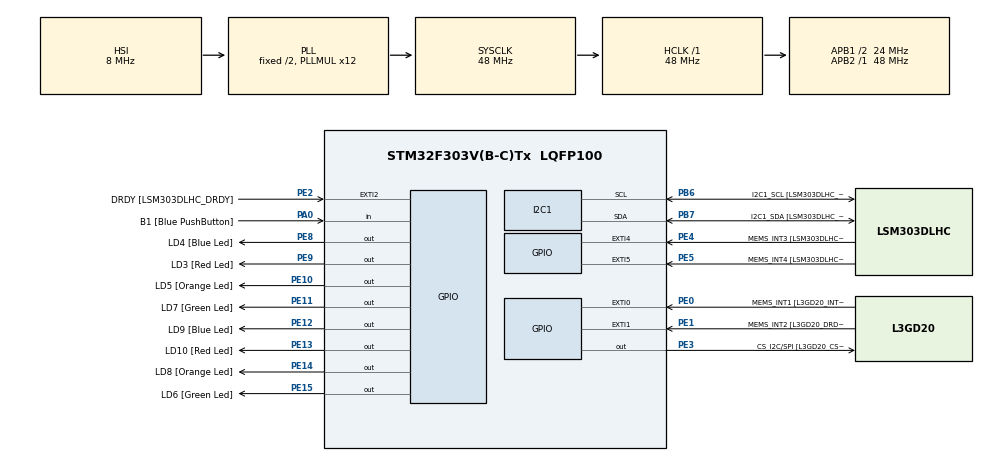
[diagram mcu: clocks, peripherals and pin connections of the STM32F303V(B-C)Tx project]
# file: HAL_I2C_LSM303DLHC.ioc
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Mcu.Family=STM32F3
Mcu.Name=STM32F303V(B-C)Tx
Mcu.Package=LQFP100
NVIC.I2C1_ER_IRQn=true\:0\:0\:false\:false\:true\:true\:true\:true
NVIC.I2C1_EV_IRQn=true\:0\:0\:false\:false\:true\:true\:true\:true
NVIC.PriorityGroup=NVIC_PRIORITYGROUP_0
PA0.GPIO_Label=B1 [Blue PushButton]
PA0.GPIO_Mode=GPIO_MODE_INPUT
PA0.GPIO_PuPd=GPIO_NOPULL
PA0.Signal=GPIO_Input
PA11.GPIO_Label=DM
PA11.Signal=USB_DM
PA12.GPIO_Label=DP
PA12.Signal=USB_DP
PA13.GPIO_Label=SWDIO
PA13.Signal=SYS_JTMS-SWDIO
PA14.GPIO_Label=SWCLK
PA14.Signal=SYS_JTCK-SWCLK
PA5.GPIO_Label=SPI1_SCK [L3GD20_SCL/SPC]
PA5.GPIO_Mode=GPIO_MODE_AF_PP
PA5.GPIO_PuPd=GPIO_NOPULL
PA5.GPIO_Speed=GPIO_SPEED_FREQ_LOW
PA5.Signal=SPI1_SCK
PA6.GPIO_Label=SPI1_MISO [L3GD20_SA0/SDO]
PA6.GPIO_Mode=GPIO_MODE_AF_PP
PA6.GPIO_PuPd=GPIO_NOPULL
PA6.GPIO_Speed=GPIO_SPEED_FREQ_LOW
PA6.Signal=SPI1_MISO
PA7.GPIO_Label=SPI1_MISO [L3GD20_SDA/SDI/SDO]
PA7.GPIO_Mode=GPIO_MODE_AF_PP
PA7.GPIO_PuPd=GPIO_NOPULL
PA7.GPIO_Speed=GPIO_SPEED_FREQ_LOW
PA7.Signal=SPI1_MOSI
PB3.GPIO_Label=SWO
PB3.Signal=SYS_JTDO-TRACESWO
PB6.GPIO_FM6=__NULL
PB6.GPIO_Label=I2C1_SCL [LSM303DLHC_SCL]
PB6.GPIO_Mode=GPIO_MODE_AF_OD
PB6.GPIO_PuPd=GPIO_NOPULL
PB6.GPIO_Speed=GPIO_SPEED_FREQ_LOW
PB6.Mode=I2C
PB6.Signal=I2C1_SCL
PB7.GPIO_FM7=__NULL
PB7.GPIO_Label=I2C1_SDA [LSM303DLHC_SDA]
PB7.GPIO_Mode=GPIO_MODE_AF_OD
PB7.GPIO_PuPd=GPIO_NOPULL
PB7.GPIO_Speed=GPIO_SPEED_FREQ_LOW
PB7.Mode=I2C
PB7.Signal=I2C1_SDA
PC14-OSC32_IN.GPIO_Label=OSC32_IN
PC14-OSC32_IN.Signal=RCC_OSC32_IN
PC15-OSC32_OUT.GPIO_Label=OSC32_OUT
PC15-OSC32_OUT.Signal=RCC_OSC32_OUT
PE0.GPIO_Label=MEMS_INT1 [L3GD20_INT1]
PE0.GPIO_ModeDefaultEXTI=GPIO_MODE_EVT_RISING
PE0.GPIO_PuPd=GPIO_NOPULL
PE0.Signal=GPXTI0
PE1.GPIO_Label=MEMS_INT2 [L3GD20_DRDY/INT2]
PE1.GPIO_ModeDefaultEXTI=GPIO_MODE_EVT_RISING
PE1.GPIO_PuPd=GPIO_NOPULL
PE1.Signal=GPXTI1
PE10.GPIO_Label=LD5 [Orange Led]
PE10.GPIO_ModeDefaultOutputPP=GPIO_MODE_OUTPUT_PP
PE10.GPIO_PuPd=GPIO_NOPULL
PE10.GPIO_Speed=GPIO_SPEED_FREQ_LOW
PE10.Signal=GPIO_Output
PE11.GPIO_Label=LD7 [Green Led]
PE11.GPIO_ModeDefaultOutputPP=GPIO_MODE_OUTPUT_PP
PE11.GPIO_PuPd=GPIO_NOPULL
PE11.GPIO_Speed=GPIO_SPEED_FREQ_LOW
PE11.Signal=GPIO_Output
PE12.GPIO_Label=LD9 [Blue Led]
PE12.GPIO_ModeDefaultOutputPP=GPIO_MODE_OUTPUT_PP
PE12.GPIO_PuPd=GPIO_NOPULL
PE12.GPIO_Speed=GPIO_SPEED_FREQ_LOW
PE12.Signal=GPIO_Output
PE13.GPIO_Label=LD10 [Red Led]
PE13.GPIO_ModeDefaultOutputPP=GPIO_MODE_OUTPUT_PP
PE13.GPIO_PuPd=GPIO_NOPULL
PE13.GPIO_Speed=GPIO_SPEED_FREQ_LOW
PE13.Signal=GPIO_Output
PE14.GPIO_Label=LD8 [Orange Led]
PE14.GPIO_ModeDefaultOutputPP=GPIO_MODE_OUTPUT_PP
PE14.GPIO_PuPd=GPIO_NOPULL
PE14.GPIO_Speed=GPIO_SPEED_FREQ_LOW
PE14.Signal=GPIO_Output
PE15.GPIO_Label=LD6 [Green Led]
PE15.GPIO_ModeDefaultOutputPP=GPIO_MODE_OUTPUT_PP
PE15.GPIO_PuPd=GPIO_NOPULL
PE15.GPIO_Speed=GPIO_SPEED_FREQ_LOW
PE15.Signal=GPIO_Output
PE2.GPIO_Label=DRDY [LSM303DLHC_DRDY]
PE2.GPIO_ModeDefaultEXTI=GPIO_MODE_EVT_RISING
PE2.GPIO_PuPd=GPIO_NOPULL
PE2.Signal=GPXTI2
PE3.GPIO_Label=CS_I2C/SPI [L3GD20_CS_I2C/SPI]
PE3.GPIO_ModeDefaultOutputPP=GPIO_MODE_OUTPUT_PP
PE3.GPIO_PuPd=GPIO_NOPULL
PE3.GPIO_Speed=GPIO_SPEED_FREQ_LOW
PE3.Signal=GPIO_Output
PE4.GPIO_Label=MEMS_INT3 [LSM303DLHC_INT1]
PE4.GPIO_ModeDefaultEXTI=GPIO_MODE_EVT_RISING
PE4.GPIO_PuPd=GPIO_NOPULL
PE4.Signal=GPXTI4
PE5.GPIO_Label=MEMS_INT4 [LSM303DLHC_INT2]
PE5.GPIO_ModeDefaultEXTI=GPIO_MODE_EVT_RISING
PE5.GPIO_PuPd=GPIO_NOPULL
PE5.Signal=GPXTI5
PE8.GPIO_Label=LD4 [Blue Led]
PE8.GPIO_ModeDefaultOutputPP=GPIO_MODE_OUTPUT_PP
PE8.GPIO_PuPd=GPIO_NOPULL
PE8.GPIO_Speed=GPIO_SPEED_FREQ_LOW
PE8.Signal=GPIO_Output
PE9.GPIO_Label=LD3 [Red Led]
PE9.GPIO_ModeDefaultOutputPP=GPIO_MODE_OUTPUT_PP
PE9.GPIO_PuPd=GPIO_NOPULL
PE9.GPIO_Speed=GPIO_SPEED_FREQ_LOW
PE9.Signal=GPIO_Output
PF0-OSC_IN.GPIO_Label=OSC_IN
PF0-OSC_IN.Signal=RCC_OSC_IN
PF1-OSC_OUT.GPIO_Label=OSC_OUT
PF1-OSC_OUT.Signal=RCC_OSC_OUT
ProjectManager.HeapSize=0x200
ProjectManager.StackSize=0x400
ProjectManager.TargetToolchain=STM32CubeIDE
RCC.AHBFreq_Value=48000000
RCC.APB1CLKDivider=RCC_HCLK_DIV2
RCC.APB1Freq_Value=24000000
RCC.APB1TimFreq_Value=48000000
RCC.APB2Freq_Value=48000000
RCC.APB2TimFreq_Value=48000000
RCC.CortexFreq_Value=48000000
RCC.HCLKFreq_Value=48000000
RCC.HSE_VALUE=8000000
RCC.HSI_VALUE=8000000
RCC.LSE_VALUE=32768
RCC.PLLMUL=RCC_PLL_MUL12
RCC.SYSCLKFreq_VALUE=48000000
RCC.SYSCLKSourceVirtual=RCC_SYSCLKSOURCE_PLLCLK
RCC.USBFreq_Value=48000000
board=STM32F3DISCOVERY

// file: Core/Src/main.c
/* USER CODE BEGIN Header */
/**
  ******************************************************************************
  * @file           : main.c
  * @brief          : Main program body
  ******************************************************************************
  * @attention
  *
  * Copyright (c) 2024 STMicroelectronics.
  * All rights reserved.
  *
  * This software is licensed under terms that can be found in the LICENSE file
  * in the root directory of this software component.
  * If no LICENSE file comes with this software, it is provided AS-IS.
  *
  ******************************************************************************
  */

 /*
  *
  * 0011110 - SLAVE ADDRES MAGNETIC FIELD READ
  *
  */

/* USER CODE END Header */
#include "main.h"

/* USER CODE BEGIN Includes */
#include "LSM303DLHC.h"
/* USER CODE END Includes */

I2C_HandleTypeDef hi2c1;

void SystemClock_Config(void);
static void MX_GPIO_Init(void);
static void MX_I2C1_Init(void);
/* USER CODE BEGIN PFP */
void device_send(I2C_HandleTypeDef *hi2c, uint16_t DevAddress, uint8_t *pData, uint16_t Size);
void device_receive(I2C_HandleTypeDef *hi2c, uint16_t DevAddress, uint8_t MemAddress, uint8_t *pData, uint16_t Size);
/* USER CODE END PFP */

/* USER CODE BEGIN 0 */

//RAW DATA FROM THE SENSOR
uint8_t 	RAW_DATA [6];
uint16_t 	RAW_TEMP;

//PROCESSED DATA
position_t 	POSITION;
float 		TEMPERATURE;

/* USER CODE END 0 */

int main(void)
{

  /* MCU Configuration--------------------------------------------------------*/

  /* Reset of all peripherals, Initializes the Flash interface and the Systick. */
  HAL_Init();

  /* Configure the system clock */
  SystemClock_Config();

  /* Initialize all configured peripherals */
  MX_GPIO_Init();
  MX_I2C1_Init();
  /* USER CODE BEGIN 2 */

  //MODULE
  //uint8_t accelerometer_module_addr = (0x19 << 1);
  uint8_t magnetic_module_addr = (0x1E << 1);

  //temporary registers
  uint8_t _data_buff [2];

//  //TURN ON X AXIS ACCELEROMETER
//  data_buff[0] = 0x20;
//  data_buff[1] = 0x7 | (1 << 4);
//
//  HAL_I2C_Master_Transmit(&hi2c1, accelerometer_module_addr, &data_buff[0], 2, HAL_MAX_DELAY);
//  HAL_Delay(200);

  //turn on the termomether in magnetic module
  _data_buff[0] = 0x00;
  _data_buff[1] = (1 << 7) | (1 << 4);

	//HAL_I2C_Master_Transmit(&hi2c1, magnetic_module_addr, data_buff, 2, 100);
  device_send(&hi2c1, magnetic_module_addr, _data_buff, 2);

 //set up normal mode
  _data_buff[0] = 0x02;
  _data_buff[1] = 0x0;
  device_send(&hi2c1, magnetic_module_addr, _data_buff, 2);
	//HAL_I2C_Master_Transmit(&hi2c1, magnetic_module_addr, data_buff, 2, 100);

  /* USER CODE END 2 */

  /* Infinite loop */
  /* USER CODE BEGIN WHILE */
  while (1)
  {

	////AS IT IS IN THE DOCUMENTATION WE CAN READ ONLY FULL SEQUENCE WITHOUT CODE FREEZE - FIXED

	//GET ALL AXES MAGNETIC VALUE

	//FEED THE DEVICE WITH FIRST REGISTER ADDRESS
	HAL_I2C_Mem_Read_IT(&hi2c1, magnetic_module_addr, MAGNETIC_X_HIGH_REG, I2C_MEMADD_SIZE_8BIT, RAW_DATA, 6);

	//GET THE TEMPERATURE
	HAL_I2C_Mem_Read_IT(&hi2c1, magnetic_module_addr, MAGNETIC_TEMP_HIGH_REG, I2C_MEMADD_SIZE_8BIT, (uint8_t *)&RAW_TEMP, 2);

	//device_receive(&hi2c1, magnetic_module_addr, MAGNETIC_TEMP_HIGH_REG, (uint8_t*)&_TEMP_H_L, 2);

    /* USER CODE END WHILE */

  }
}

void SystemClock_Config(void)
{
  RCC_OscInitTypeDef RCC_OscInitStruct = {0};
  RCC_ClkInitTypeDef RCC_ClkInitStruct = {0};
  RCC_PeriphCLKInitTypeDef PeriphClkInit = {0};

  /** Initializes the RCC Oscillators according to the specified parameters
  * in the RCC_OscInitTypeDef structure.
  */
  RCC_OscInitStruct.OscillatorType = RCC_OSCILLATORTYPE_HSI;
  RCC_OscInitStruct.HSIState = RCC_HSI_ON;
  RCC_OscInitStruct.HSICalibrationValue = RCC_HSICALIBRATION_DEFAULT;
  RCC_OscInitStruct.PLL.PLLState = RCC_PLL_ON;
  RCC_OscInitStruct.PLL.PLLSource = RCC_PLLSOURCE_HSI;
  RCC_OscInitStruct.PLL.PLLMUL = RCC_PLL_MUL12;
  if (HAL_RCC_OscConfig(&RCC_OscInitStruct) != HAL_OK)
  {
    Error_Handler();
  }

  /** Initializes the CPU, AHB and APB buses clocks
  */
  RCC_ClkInitStruct.ClockType = RCC_CLOCKTYPE_HCLK|RCC_CLOCKTYPE_SYSCLK
                              |RCC_CLOCKTYPE_PCLK1|RCC_CLOCKTYPE_PCLK2;
  RCC_ClkInitStruct.SYSCLKSource = RCC_SYSCLKSOURCE_PLLCLK;
  RCC_ClkInitStruct.AHBCLKDivider = RCC_SYSCLK_DIV1;
  RCC_ClkInitStruct.APB1CLKDivider = RCC_HCLK_DIV2;
  RCC_ClkInitStruct.APB2CLKDivider = RCC_HCLK_DIV1;

  if (HAL_RCC_ClockConfig(&RCC_ClkInitStruct, FLASH_LATENCY_1) != HAL_OK)
  {
    Error_Handler();
  }
  PeriphClkInit.PeriphClockSelection = RCC_PERIPHCLK_I2C1;
  PeriphClkInit.I2c1ClockSelection = RCC_I2C1CLKSOURCE_HSI;
  if (HAL_RCCEx_PeriphCLKConfig(&PeriphClkInit) != HAL_OK)
  {
    Error_Handler();
  }
}

static void MX_I2C1_Init(void)
{

  hi2c1.Instance = I2C1;
  hi2c1.Init.Timing = 0x2000090E;
  hi2c1.Init.OwnAddress1 = 0;
  hi2c1.Init.AddressingMode = I2C_ADDRESSINGMODE_7BIT;
  hi2c1.Init.DualAddressMode = I2C_DUALADDRESS_DISABLE;
  hi2c1.Init.OwnAddress2 = 0;
  hi2c1.Init.OwnAddress2Masks = I2C_OA2_NOMASK;
  hi2c1.Init.GeneralCallMode = I2C_GENERALCALL_DISABLE;
  hi2c1.Init.NoStretchMode = I2C_NOSTRETCH_DISABLE;
  if (HAL_I2C_Init(&hi2c1) != HAL_OK)
  {
    Error_Handler();
  }

  /** Configure Analogue filter
  */
  if (HAL_I2CEx_ConfigAnalogFilter(&hi2c1, I2C_ANALOGFILTER_ENABLE) != HAL_OK)
  {
    Error_Handler();
  }

  /** Configure Digital filter
  */
  if (HAL_I2CEx_ConfigDigitalFilter(&hi2c1, 0) != HAL_OK)
  {
    Error_Handler();
  }

}

static void MX_GPIO_Init(void)
{
  GPIO_InitTypeDef GPIO_InitStruct = {0};

  /* GPIO Ports Clock Enable */
  __HAL_RCC_GPIOE_CLK_ENABLE();
  __HAL_RCC_GPIOC_CLK_ENABLE();
  __HAL_RCC_GPIOF_CLK_ENABLE();
  __HAL_RCC_GPIOA_CLK_ENABLE();
  __HAL_RCC_GPIOB_CLK_ENABLE();

  /*Configure GPIO pin Output Level */
  HAL_GPIO_WritePin(GPIOE, CS_I2C_SPI_Pin|LD4_Pin|LD3_Pin|LD5_Pin
                          |LD7_Pin|LD9_Pin|LD10_Pin|LD8_Pin
                          |LD6_Pin, GPIO_PIN_RESET);

  /*Configure GPIO pins : DRDY_Pin MEMS_INT3_Pin MEMS_INT4_Pin MEMS_INT1_Pin
                           MEMS_INT2_Pin */
  GPIO_InitStruct.Pin = DRDY_Pin|MEMS_INT3_Pin|MEMS_INT4_Pin|MEMS_INT1_Pin
                          |MEMS_INT2_Pin;
  GPIO_InitStruct.Mode = GPIO_MODE_EVT_RISING;
  GPIO_InitStruct.Pull = GPIO_NOPULL;
  HAL_GPIO_Init(GPIOE, &GPIO_InitStruct);

  /*Configure GPIO pins : CS_I2C_SPI_Pin LD4_Pin LD3_Pin LD5_Pin
                           LD7_Pin LD9_Pin LD10_Pin LD8_Pin
                           LD6_Pin */
  GPIO_InitStruct.Pin = CS_I2C_SPI_Pin|LD4_Pin|LD3_Pin|LD5_Pin
                          |LD7_Pin|LD9_Pin|LD10_Pin|LD8_Pin
                          |LD6_Pin;
  GPIO_InitStruct.Mode = GPIO_MODE_OUTPUT_PP;
  GPIO_InitStruct.Pull = GPIO_NOPULL;
  GPIO_InitStruct.Speed = GPIO_SPEED_FREQ_LOW;
  HAL_GPIO_Init(GPIOE, &GPIO_InitStruct);

  /*Configure GPIO pin : B1_Pin */
  GPIO_InitStruct.Pin = B1_Pin;
  GPIO_InitStruct.Mode = GPIO_MODE_INPUT;
  GPIO_InitStruct.Pull = GPIO_NOPULL;
  HAL_GPIO_Init(B1_GPIO_Port, &GPIO_InitStruct);

  /*Configure GPIO pins : SPI1_SCK_Pin SPI1_MISO_Pin SPI1_MISOA7_Pin */
  GPIO_InitStruct.Pin = SPI1_SCK_Pin|SPI1_MISO_Pin|SPI1_MISOA7_Pin;
  GPIO_InitStruct.Mode = GPIO_MODE_AF_PP;
  GPIO_InitStruct.Pull = GPIO_NOPULL;
  GPIO_InitStruct.Speed = GPIO_SPEED_FREQ_LOW;
  GPIO_InitStruct.Alternate = GPIO_AF5_SPI1;
  HAL_GPIO_Init(GPIOA, &GPIO_InitStruct);

  /*Configure GPIO pins : DM_Pin DP_Pin */
  GPIO_InitStruct.Pin = DM_Pin|DP_Pin;
  GPIO_InitStruct.Mode = GPIO_MODE_AF_PP;
  GPIO_InitStruct.Pull = GPIO_NOPULL;
  GPIO_InitStruct.Speed = GPIO_SPEED_FREQ_HIGH;
  GPIO_InitStruct.Alternate = GPIO_AF14_USB;
  HAL_GPIO_Init(GPIOA, &GPIO_InitStruct);

}

/* USER CODE BEGIN 4 */
void device_send(I2C_HandleTypeDef *hi2c, uint16_t DevAddress, uint8_t *pData, uint16_t Size)
{
	HAL_I2C_Master_Transmit_IT(hi2c, DevAddress, pData, Size);
	while(HAL_I2C_GetState(hi2c) != HAL_I2C_STATE_READY){};
}

void device_receive(I2C_HandleTypeDef *hi2c, uint16_t DevAddress, uint8_t MemAddress, uint8_t *pData, uint16_t Size)
{
	uint8_t mem = MemAddress;
	HAL_I2C_Master_Transmit_IT(hi2c, DevAddress, &mem, 1);
	while(HAL_I2C_GetState(hi2c) != HAL_I2C_STATE_READY){};
	HAL_I2C_Master_Receive_IT(hi2c, DevAddress, pData, Size);
	while(HAL_I2C_GetState(hi2c) != HAL_I2C_STATE_READY){};
}

void HAL_I2C_MemRxCpltCallback(I2C_HandleTypeDef *hi2c)
{
	if (hi2c->Instance == hi2c1.Instance)
	{
		//IF RAW_DATA WAS RECEIVED
		if(hi2c->pBuffPtr == RAW_DATA+6)
		{
			POSITION = MAGNETIC_get_field(RAW_DATA);
		}
		//IF TEMPERATURE WAS RECEIVED
		else if(hi2c->pBuffPtr == ((uint8_t*)&(RAW_TEMP) + 2) )
		{
			TEMPERATURE = MAGNETIC_get_temp(RAW_TEMP);
		}
	}
}

/* USER CODE END 4 */

void Error_Handler(void)
{
  __disable_irq();
  while (1)
  {
  }
}
